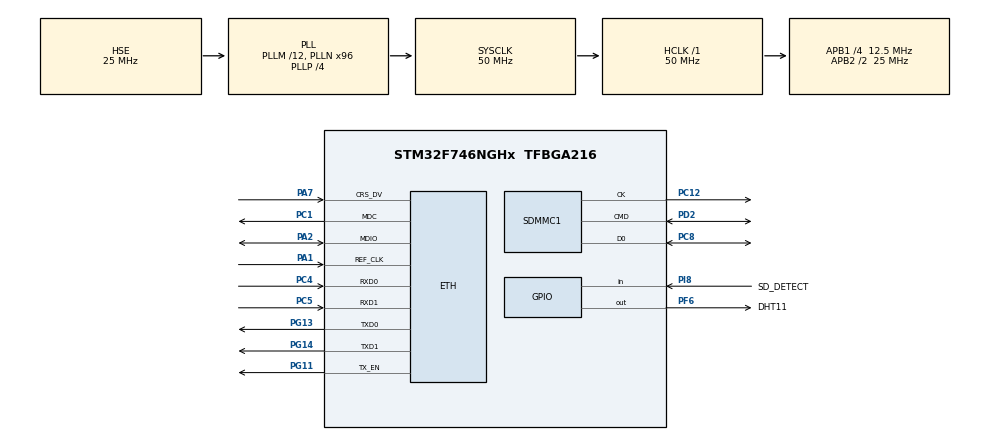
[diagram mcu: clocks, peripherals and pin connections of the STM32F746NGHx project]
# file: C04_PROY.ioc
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Dma.Request0=SDMMC1_RX
Dma.Request1=SDMMC1_TX
Dma.SDMMC1_RX.0.Direction=DMA_PERIPH_TO_MEMORY
Dma.SDMMC1_RX.0.FIFOMode=DMA_FIFOMODE_ENABLE
Dma.SDMMC1_RX.0.FIFOThreshold=DMA_FIFO_THRESHOLD_FULL
Dma.SDMMC1_RX.0.Instance=DMA2_Stream3
Dma.SDMMC1_RX.0.MemBurst=DMA_MBURST_INC4
Dma.SDMMC1_RX.0.MemDataAlignment=DMA_MDATAALIGN_WORD
Dma.SDMMC1_RX.0.MemInc=DMA_MINC_ENABLE
Dma.SDMMC1_RX.0.Mode=DMA_PFCTRL
Dma.SDMMC1_RX.0.PeriphBurst=DMA_PBURST_INC4
Dma.SDMMC1_RX.0.PeriphDataAlignment=DMA_PDATAALIGN_WORD
Dma.SDMMC1_RX.0.PeriphInc=DMA_PINC_DISABLE
Dma.SDMMC1_RX.0.Priority=DMA_PRIORITY_LOW
Dma.SDMMC1_TX.1.Direction=DMA_MEMORY_TO_PERIPH
Dma.SDMMC1_TX.1.FIFOMode=DMA_FIFOMODE_ENABLE
Dma.SDMMC1_TX.1.FIFOThreshold=DMA_FIFO_THRESHOLD_FULL
Dma.SDMMC1_TX.1.Instance=DMA2_Stream6
Dma.SDMMC1_TX.1.MemBurst=DMA_MBURST_INC4
Dma.SDMMC1_TX.1.MemDataAlignment=DMA_MDATAALIGN_WORD
Dma.SDMMC1_TX.1.MemInc=DMA_MINC_ENABLE
Dma.SDMMC1_TX.1.Mode=DMA_PFCTRL
Dma.SDMMC1_TX.1.PeriphBurst=DMA_PBURST_INC4
Dma.SDMMC1_TX.1.PeriphDataAlignment=DMA_PDATAALIGN_WORD
Dma.SDMMC1_TX.1.PeriphInc=DMA_PINC_DISABLE
Dma.SDMMC1_TX.1.Priority=DMA_PRIORITY_LOW
ETH.MediaInterface=ETH_MEDIA_INTERFACE_RMII
ETH.PHY_ISFR_INT4=0x0010
ETH.PhyAddress=0
FATFS.BSP.number=1
FATFS._FS_EXFAT=1
FATFS._MAX_LFN=15
FATFS._MAX_SS=4096
FATFS._USE_LFN=2
FATFS._USE_MUTEX=0
FATFS0.BSP.STBoard=false
FATFS0.BSP.api=Unknown
FATFS0.BSP.i2caddr=0
FATFS0.BSP.instance=PI8
FATFS0.BSP.ip=GPIO
FATFS0.BSP.mode=Input
FATFS0.BSP.name=Detect_SDIO
FATFS0.BSP.solution=PI8
FREERTOS.Tasks01=initTask,24,512,InitializationTask,Default,NULL,Dynamic,NULL,NULL;mainTask,32,1024,MainTask,Default,NULL,Dynamic,NULL,NULL
FREERTOS.configMINIMAL_STACK_SIZE=512
FREERTOS.configTOTAL_HEAP_SIZE=30720
LWIP.LWIP_ALTCP=0
LWIP.LWIP_DNS=1
LWIP.LWIP_NETCONN_FULLDUPLEX=0
LWIP.LWIP_NETCONN_SEM_PER_THREAD=0
LWIP.LWIP_SNTP=1
LWIP.LWIP_TCPIP_CORE_LOCKING=1
LWIP.LWIP_TCPIP_CORE_LOCKING_INPUT=0
LWIP.MEM_SIZE=1600
LWIP.Version=v2.1.2_Cube
Mcu.Family=STM32F7
Mcu.Name=STM32F746NGHx
Mcu.Package=TFBGA216
NVIC.DMA2_Stream3_IRQn=true\:5\:0\:false\:false\:true\:true\:false\:true
NVIC.DMA2_Stream6_IRQn=true\:5\:0\:false\:false\:true\:true\:false\:true
NVIC.ETH_IRQn=true\:5\:0\:false\:false\:true\:true\:false\:true
NVIC.PriorityGroup=NVIC_PRIORITYGROUP_4
NVIC.RTC_Alarm_IRQn=true\:5\:0\:false\:false\:true\:true\:true\:true
NVIC.SDMMC1_IRQn=true\:5\:0\:false\:false\:true\:true\:true\:true
NVIC.TIM1_UP_TIM10_IRQn=true\:0\:0\:false\:false\:true\:false\:false\:true
NVIC.TimeBase=TIM1_UP_TIM10_IRQn
NVIC.TimeBaseIP=TIM1
PA1.Mode=RMII
PA1.Signal=ETH_REF_CLK
PA2.Mode=RMII
PA2.Signal=ETH_MDIO
PA7.Mode=RMII
PA7.Signal=ETH_CRS_DV
PC1.Mode=RMII
PC1.Signal=ETH_MDC
PC12.Mode=SD_1_bit
PC12.Signal=SDMMC1_CK
PC4.Mode=RMII
PC4.Signal=ETH_RXD0
PC5.Mode=RMII
PC5.Signal=ETH_RXD1
PC8.Mode=SD_1_bit
PC8.Signal=SDMMC1_D0
PD2.Mode=SD_1_bit
PD2.Signal=SDMMC1_CMD
PF6.GPIO_Label=DHT11
PF6.Signal=GPIO_Output
PG11.Mode=RMII
PG11.Signal=ETH_TX_EN
PG13.Mode=RMII
PG13.Signal=ETH_TXD0
PG14.Mode=RMII
PG14.Signal=ETH_TXD1
PH0/OSC_IN.Mode=HSE-External-Oscillator
PH0/OSC_IN.Signal=RCC_OSC_IN
PH1/OSC_OUT.Mode=HSE-External-Oscillator
PH1/OSC_OUT.Signal=RCC_OSC_OUT
PI8.GPIO_Label=SD_DETECT
PI8.GPIO_PuPd=GPIO_PULLDOWN
PI8.Signal=GPIO_Input
ProjectManager.HeapSize=0x200
ProjectManager.StackSize=0x400
ProjectManager.TargetToolchain=STM32CubeIDE
RCC.AHBFreq_Value=50000000
RCC.APB1CLKDivider=RCC_HCLK_DIV4
RCC.APB1Freq_Value=12500000
RCC.APB1TimFreq_Value=25000000
RCC.APB2CLKDivider=RCC_HCLK_DIV2
RCC.APB2Freq_Value=25000000
RCC.APB2TimFreq_Value=50000000
RCC.CortexFreq_Value=50000000
RCC.HCLKFreq_Value=50000000
RCC.HSE_VALUE=25000000
RCC.HSI_VALUE=16000000
RCC.LSE_VALUE=32768
RCC.PLLM=12
RCC.PLLN=96
RCC.PLLP=RCC_PLLP_DIV4
RCC.PLLSourceVirtual=RCC_PLLSOURCE_HSE
RCC.SYSCLKFreq_VALUE=50000000
RCC.SYSCLKSource=RCC_SYSCLKSOURCE_PLLCLK
RCC.USBFreq_Value=100000000
RCC.VCOOutputFreq_Value=200000000
RTC.Alarm-Alarm\ A=RTC_ALARM_A
RTC.AlarmMaskDateWeekDay-Alarm\ A=RTC_ALARMMASK_DATEWEEKDAY
RTC.AlarmMaskHours-Alarm\ A=RTC_ALARMMASK_HOURS
RTC.AlarmMaskMinutes-Alarm\ A=RTC_ALARMMASK_MINUTES
RTC.AlarmMaskSeconds-Alarm\ A=RTC_ALARMMASK_SECONDS
RTC.Format=RTC_FORMAT_BIN
SDMMC1.ClockDiv=0
VP_FATFS_VS_SDIO.Mode=SDIO
VP_FREERTOS_VS_CMSIS_V2.Mode=CMSIS_V2
VP_LWIP_VS_Enabled.Mode=Enabled
VP_RTC_VS_RTC_Activate.Mode=RTC_Enabled
VP_RTC_VS_RTC_Alarm_A_Intern.Mode=Alarm A
VP_RTC_VS_RTC_Calendar.Mode=RTC_Calendar
VP_SYS_VS_tim1.Mode=TIM1
board=STM32F746G-DISCO

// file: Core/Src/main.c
/* USER CODE BEGIN Header */
/**
  ******************************************************************************
  * @file           : main.c
  * @brief          : Main program body
  ******************************************************************************
  * @attention
  *
  * <h2><center>&copy; Copyright (c) 2020 STMicroelectronics.
  * All rights reserved.</center></h2>
  *
  * This software component is licensed by ST under BSD 3-Clause license,
  * the "License"; You may not use this file except in compliance with the
  * License. You may obtain a copy of the License at:
  *                        opensource.org/licenses/BSD-3-Clause
  *
  ******************************************************************************
  */
/* USER CODE END Header */

#include "main.h"
#include "cmsis_os.h"
#include "fatfs.h"
#include "lwip.h"

/* USER CODE BEGIN Includes */
#include "sntp.h"
#include "tcp_log_server.h"
#include "mqtt_event_publisher.h"
#include "microsd_io.h"
#include "dht11.h"
/* USER CODE END Includes */

RTC_HandleTypeDef hrtc;

SD_HandleTypeDef hsd1;
DMA_HandleTypeDef hdma_sdmmc1_rx;
DMA_HandleTypeDef hdma_sdmmc1_tx;

/* Definitions for initTask */
osThreadId_t initTaskHandle;
const osThreadAttr_t initTask_attributes = {
  .name = "initTask",
  .priority = (osPriority_t) osPriorityNormal,
  .stack_size = 512 * 4
};
/* Definitions for mainTask */
osThreadId_t mainTaskHandle;
const osThreadAttr_t mainTask_attributes = {
  .name = "mainTask",
  .priority = (osPriority_t) osPriorityAboveNormal,
  .stack_size = 1024 * 4
};

void SystemClock_Config(void);
static void MX_GPIO_Init(void);
static void MX_DMA_Init(void);
static void MX_RTC_Init(void);
static void MX_SDMMC1_SD_Init(void);
void InitializationTask(void *argument);
void MainTask(void *argument);

int main(void)
{

  /* MCU Configuration--------------------------------------------------------*/

  /* Reset of all peripherals, Initializes the Flash interface and the Systick. */
  HAL_Init();

  /* Configure the system clock */
  SystemClock_Config();

  /* Initialize all configured peripherals */
  MX_GPIO_Init();
  MX_DMA_Init();
  MX_RTC_Init();
  MX_SDMMC1_SD_Init();
  MX_FATFS_Init();

  /* Init scheduler */
  osKernelInitialize();

  /* Create the thread(s) */
  /* creation of initTask */
  initTaskHandle = osThreadNew(InitializationTask, NULL, &initTask_attributes);

  /* creation of mainTask */
  mainTaskHandle = osThreadNew(MainTask, NULL, &mainTask_attributes);

  /* Start scheduler */
  osKernelStart();

  /* We should never get here as control is now taken by the scheduler */
  /* Infinite loop */
  while (1)
  {

  }
}

void SystemClock_Config(void)
{
  RCC_OscInitTypeDef RCC_OscInitStruct = {0};
  RCC_ClkInitTypeDef RCC_ClkInitStruct = {0};
  RCC_PeriphCLKInitTypeDef PeriphClkInitStruct = {0};

  /** Configure the main internal regulator output voltage
  */
  __HAL_RCC_PWR_CLK_ENABLE();
  __HAL_PWR_VOLTAGESCALING_CONFIG(PWR_REGULATOR_VOLTAGE_SCALE3);
  /** Initializes the CPU, AHB and APB busses clocks
  */
  RCC_OscInitStruct.OscillatorType = RCC_OSCILLATORTYPE_LSI|RCC_OSCILLATORTYPE_HSE;
  RCC_OscInitStruct.HSEState = RCC_HSE_ON;
  RCC_OscInitStruct.LSIState = RCC_LSI_ON;
  RCC_OscInitStruct.PLL.PLLState = RCC_PLL_ON;
  RCC_OscInitStruct.PLL.PLLSource = RCC_PLLSOURCE_HSE;
  RCC_OscInitStruct.PLL.PLLM = 12;
  RCC_OscInitStruct.PLL.PLLN = 96;
  RCC_OscInitStruct.PLL.PLLP = RCC_PLLP_DIV4;
  RCC_OscInitStruct.PLL.PLLQ = 2;
  if (HAL_RCC_OscConfig(&RCC_OscInitStruct) != HAL_OK)
  {
    Error_Handler();
  }
  /** Initializes the CPU, AHB and APB busses clocks
  */
  RCC_ClkInitStruct.ClockType = RCC_CLOCKTYPE_HCLK|RCC_CLOCKTYPE_SYSCLK
                              |RCC_CLOCKTYPE_PCLK1|RCC_CLOCKTYPE_PCLK2;
  RCC_ClkInitStruct.SYSCLKSource = RCC_SYSCLKSOURCE_PLLCLK;
  RCC_ClkInitStruct.AHBCLKDivider = RCC_SYSCLK_DIV1;
  RCC_ClkInitStruct.APB1CLKDivider = RCC_HCLK_DIV4;
  RCC_ClkInitStruct.APB2CLKDivider = RCC_HCLK_DIV2;

  if (HAL_RCC_ClockConfig(&RCC_ClkInitStruct, FLASH_LATENCY_1) != HAL_OK)
  {
    Error_Handler();
  }
  PeriphClkInitStruct.PeriphClockSelection = RCC_PERIPHCLK_RTC|RCC_PERIPHCLK_SDMMC1;
  PeriphClkInitStruct.RTCClockSelection = RCC_RTCCLKSOURCE_LSI;
  PeriphClkInitStruct.Sdmmc1ClockSelection = RCC_SDMMC1CLKSOURCE_SYSCLK;
  if (HAL_RCCEx_PeriphCLKConfig(&PeriphClkInitStruct) != HAL_OK)
  {
    Error_Handler();
  }
}

static void MX_RTC_Init(void)
{

  RTC_TimeTypeDef sTime = {0};
  RTC_DateTypeDef sDate = {0};
  RTC_AlarmTypeDef sAlarm = {0};

  /** Initialize RTC Only
  */
  hrtc.Instance = RTC;
  hrtc.Init.HourFormat = RTC_HOURFORMAT_24;
  hrtc.Init.AsynchPrediv = 127;
  hrtc.Init.SynchPrediv = 255;
  hrtc.Init.OutPut = RTC_OUTPUT_DISABLE;
  hrtc.Init.OutPutPolarity = RTC_OUTPUT_POLARITY_HIGH;
  hrtc.Init.OutPutType = RTC_OUTPUT_TYPE_OPENDRAIN;
  if (HAL_RTC_Init(&hrtc) != HAL_OK)
  {
    Error_Handler();
  }

  /** Initialize RTC and set the Time and Date
  */
  sTime.Hours = 0;
  sTime.Minutes = 0;
  sTime.Seconds = 0;
  sTime.DayLightSaving = RTC_DAYLIGHTSAVING_NONE;
  sTime.StoreOperation = RTC_STOREOPERATION_RESET;
  if (HAL_RTC_SetTime(&hrtc, &sTime, RTC_FORMAT_BIN) != HAL_OK)
  {
    Error_Handler();
  }
  sDate.WeekDay = RTC_WEEKDAY_MONDAY;
  sDate.Month = RTC_MONTH_JANUARY;
  sDate.Date = 1;
  sDate.Year = 0;
  if (HAL_RTC_SetDate(&hrtc, &sDate, RTC_FORMAT_BIN) != HAL_OK)
  {
    Error_Handler();
  }
  /** Enable the Alarm A
  */
  sAlarm.AlarmTime.Hours = 0;
  sAlarm.AlarmTime.Minutes = 0;
  sAlarm.AlarmTime.Seconds = 0;
  sAlarm.AlarmTime.SubSeconds = 0;
  sAlarm.AlarmTime.DayLightSaving = RTC_DAYLIGHTSAVING_NONE;
  sAlarm.AlarmTime.StoreOperation = RTC_STOREOPERATION_RESET;
  sAlarm.AlarmMask = RTC_ALARMMASK_ALL;
  sAlarm.AlarmSubSecondMask = RTC_ALARMSUBSECONDMASK_ALL;
  sAlarm.AlarmDateWeekDaySel = RTC_ALARMDATEWEEKDAYSEL_DATE;
  sAlarm.AlarmDateWeekDay = 1;
  sAlarm.Alarm = RTC_ALARM_A;
  if (HAL_RTC_SetAlarm_IT(&hrtc, &sAlarm, RTC_FORMAT_BIN) != HAL_OK)
  {
    Error_Handler();
  }

}

static void MX_SDMMC1_SD_Init(void)
{

  hsd1.Instance = SDMMC1;
  hsd1.Init.ClockEdge = SDMMC_CLOCK_EDGE_RISING;
  hsd1.Init.ClockBypass = SDMMC_CLOCK_BYPASS_DISABLE;
  hsd1.Init.ClockPowerSave = SDMMC_CLOCK_POWER_SAVE_DISABLE;
  hsd1.Init.BusWide = SDMMC_BUS_WIDE_1B;
  hsd1.Init.HardwareFlowControl = SDMMC_HARDWARE_FLOW_CONTROL_DISABLE;
  hsd1.Init.ClockDiv = 0;

}

static void MX_DMA_Init(void)
{

  /* DMA controller clock enable */
  __HAL_RCC_DMA2_CLK_ENABLE();

  /* DMA interrupt init */
  /* DMA2_Stream3_IRQn interrupt configuration */
  HAL_NVIC_SetPriority(DMA2_Stream3_IRQn, 5, 0);
  HAL_NVIC_EnableIRQ(DMA2_Stream3_IRQn);
  /* DMA2_Stream6_IRQn interrupt configuration */
  HAL_NVIC_SetPriority(DMA2_Stream6_IRQn, 5, 0);
  HAL_NVIC_EnableIRQ(DMA2_Stream6_IRQn);

}

static void MX_GPIO_Init(void)
{
  GPIO_InitTypeDef GPIO_InitStruct = {0};

  /* GPIO Ports Clock Enable */
  __HAL_RCC_GPIOG_CLK_ENABLE();
  __HAL_RCC_GPIOC_CLK_ENABLE();
  __HAL_RCC_GPIOI_CLK_ENABLE();
  __HAL_RCC_GPIOD_CLK_ENABLE();
  __HAL_RCC_GPIOH_CLK_ENABLE();
  __HAL_RCC_GPIOF_CLK_ENABLE();
  __HAL_RCC_GPIOA_CLK_ENABLE();

  /*Configure GPIO pin Output Level */
  HAL_GPIO_WritePin(DHT11_GPIO_Port, DHT11_Pin, GPIO_PIN_RESET);

  /*Configure GPIO pin : SD_DETECT_Pin */
  GPIO_InitStruct.Pin = SD_DETECT_Pin;
  GPIO_InitStruct.Mode = GPIO_MODE_INPUT;
  GPIO_InitStruct.Pull = GPIO_PULLDOWN;
  HAL_GPIO_Init(SD_DETECT_GPIO_Port, &GPIO_InitStruct);

  /*Configure GPIO pin : DHT11_Pin */
  GPIO_InitStruct.Pin = DHT11_Pin;
  GPIO_InitStruct.Mode = GPIO_MODE_OUTPUT_PP;
  GPIO_InitStruct.Pull = GPIO_NOPULL;
  GPIO_InitStruct.Speed = GPIO_SPEED_FREQ_LOW;
  HAL_GPIO_Init(DHT11_GPIO_Port, &GPIO_InitStruct);

}

/* USER CODE BEGIN 4 */
uint8_t rtcAlarmEnabled = 0;
RTC_TimeTypeDef rtcTime = { 0 };
RTC_DateTypeDef rtcDate = { 0 };

void HAL_RTC_AlarmAEventCallback(RTC_HandleTypeDef *hrtc)
{
  // TODO: the alarm should be set to a 1 minute interval
  if (!rtcAlarmEnabled)
  {
    return;
  }

  // Set current time in global variables
  HAL_RTC_GetTime(hrtc, &rtcTime, RTC_FORMAT_BIN);
  HAL_RTC_GetDate(hrtc, &rtcDate, RTC_FORMAT_BIN);

  if (rtcTime.Seconds % 5 != 0)
  {
    // TODO: each 5 seconds for testing only
    return;
  }

  // Wake up the main task each time the alarm triggers
  BaseType_t xHigherPriorityTaskWoken = pdFALSE;
  vTaskNotifyGiveFromISR((TaskHandle_t) mainTaskHandle, &xHigherPriorityTaskWoken);
  portYIELD_FROM_ISR(xHigherPriorityTaskWoken);
}

void send_climate_by_mqtt(Climate *climate, char *writeBuffer)
{
  sprintf(writeBuffer,
          "%04d-%02d-%02dT%02d:%02d:%02dZ,%d.%d°C,%d.%d%%", 2000 + rtcDate.Year,
          rtcDate.Month, rtcDate.Date, rtcTime.Hours, rtcTime.Minutes, rtcTime.Seconds,
          climate->integralTemp, climate->decimalTemp,
          climate->integralHumidity, climate->decimalHumidity);

  mqtt_evt_pub_publish("climate", writeBuffer);
}

void write_climate_to_microsd(Climate *climate, char *writeBuffer)
{
  char filename[15]; /* YYYYMMDDHH.CSV */

  sprintf(filename, "%04d%02d%02d%02d.CSV", 2000 + rtcDate.Year, rtcDate.Month,
          rtcDate.Date, rtcTime.Hours);

  int length = sprintf(writeBuffer,
                       "%04d-%02d-%02dT%02d:%02d:%02dZ,%d.%d°C,%d.%d%%\n", 2000 + rtcDate.Year,
                       rtcDate.Month, rtcDate.Date, rtcTime.Hours, rtcTime.Minutes, rtcTime.Seconds,
                       climate->integralTemp, climate->decimalTemp,
                       climate->integralHumidity, climate->decimalHumidity);

  microsd_io_write(filename, (uint8_t*)writeBuffer, length);
}
/* USER CODE END 4 */

void InitializationTask(void *argument)
{
  /* init code for LWIP */
  MX_LWIP_Init();
  /* USER CODE BEGIN 5 */

  tcp_log_server_init();
  tcp_log_msg("STM32F746G-DISCO-DHT11-ETH: An Ethernet connected temperature and humidity sensor");

  sntp_rtc_bridge_init(hrtc);
  sntp_init();
  tcp_log_msg("Waiting for RTC setup by SNTP...");

  while (rtcDate.Year == 0)
  {
    HAL_RTC_GetTime(&hrtc, &rtcTime, RTC_FORMAT_BIN);
    HAL_RTC_GetDate(&hrtc, &rtcDate, RTC_FORMAT_BIN);
    osDelay(1000);
  }

  char rtcDateTimeLogMessage[32];

  sprintf((char*) rtcDateTimeLogMessage,
          "RTC set to %04d-%02d-%02dT%02d:%02d:%02dZ",
          2000 + rtcDate.Year, rtcDate.Month, rtcDate.Date,
          rtcTime.Hours, rtcTime.Minutes, rtcTime.Seconds);

  tcp_log_msg(rtcDateTimeLogMessage);

  // Initialize the MQTT publisher after SNTP has succeeded to make sure we have network communication
  tcp_log_msg("Starting the MQTT event publisher task...");
  mqtt_evt_pub_init();

  tcp_log_msg("Starting the microSD I/O task...");
  microsd_io_init();

  // The RTC alarm wakes up the main task to perform its job, and then the task
  // goes to sleep until the alarm triggers again.
  tcp_log_msg("Enabling the RTC alarm which drives the execution of the main task...");
  rtcAlarmEnabled = 1;

  osThreadExit();
  /* USER CODE END 5 */
}

void MainTask(void *argument)
{
  /* USER CODE BEGIN MainTask */
  char writeBuffer[127];

  Climate climate;

  /* Infinite loop */
  for(;;)
  {
    ulTaskNotifyTake(pdTRUE, portMAX_DELAY);

    sprintf(writeBuffer,
            "Reading climate at %04d-%02d-%02dT%02d:%02d:%02dZ...", 2000 + rtcDate.Year,
            rtcDate.Month, rtcDate.Date, rtcTime.Hours, rtcTime.Minutes, rtcTime.Seconds);

    tcp_log_msg(writeBuffer);

    dht11_read_climate(&climate);

    sprintf(writeBuffer, "Current climate: %d.%d°C,%d.%d%%",
            climate.integralTemp, climate.decimalTemp,
            climate.integralHumidity, climate.decimalHumidity);

    tcp_log_msg(writeBuffer);

    send_climate_by_mqtt(&climate, writeBuffer);
    write_climate_to_microsd(&climate, writeBuffer);

    osThreadYield();
  }
  /* USER CODE END MainTask */
}

 /**
  * @brief  Period elapsed callback in non blocking mode
  * @note   This function is called  when TIM1 interrupt took place, inside
  * HAL_TIM_IRQHandler(). It makes a direct call to HAL_IncTick() to increment
  * a global variable "uwTick" used as application time base.
  * @param  htim : TIM handle
  * @retval None
  */
void HAL_TIM_PeriodElapsedCallback(TIM_HandleTypeDef *htim)
{
  if (htim->Instance == TIM1) {
    HAL_IncTick();
  }
}

void Error_Handler(void)
{
}

/************************ (C) COPYRIGHT STMicroelectronics *****END OF FILE****/
